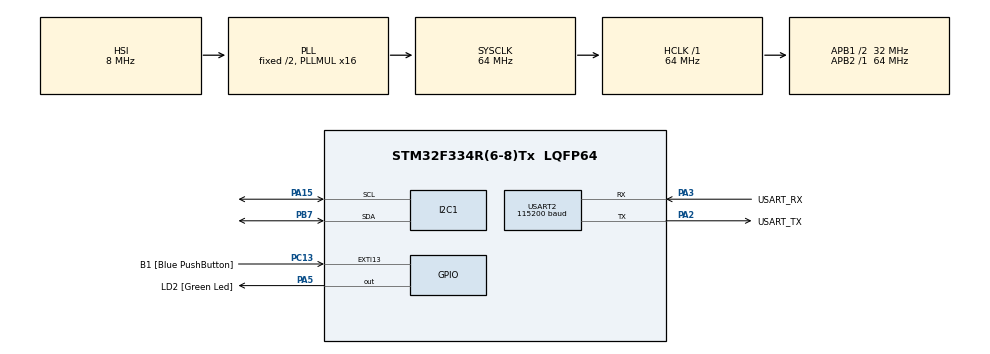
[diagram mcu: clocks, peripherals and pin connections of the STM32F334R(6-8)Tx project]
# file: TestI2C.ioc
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Mcu.Family=STM32F3
Mcu.Name=STM32F334R(6-8)Tx
Mcu.Package=LQFP64
NVIC.PriorityGroup=NVIC_PRIORITYGROUP_0
PA13.GPIO_Label=TMS
PA13.Mode=Serial_Wire
PA13.Signal=SYS_JTMS-SWDIO
PA14.GPIO_Label=TCK
PA14.Mode=Serial_Wire
PA14.Signal=SYS_JTCK-SWCLK
PA15.Mode=I2C
PA15.Signal=I2C1_SCL
PA2.GPIO_Label=USART_TX
PA2.Mode=Asynchronous
PA2.Signal=USART2_TX
PA3.GPIO_Label=USART_RX
PA3.Mode=Asynchronous
PA3.Signal=USART2_RX
PA5.GPIO_Label=LD2 [Green Led]
PA5.Signal=GPIO_Output
PB3.GPIO_Label=SWO
PB3.Signal=SYS_JTDO-TRACESWO
PB7.Mode=I2C
PB7.Signal=I2C1_SDA
PC13.GPIO_Label=B1 [Blue PushButton]
PC13.GPIO_ModeDefaultEXTI=GPIO_MODE_IT_FALLING
PC13.Signal=GPXTI13
PC14\ /\ OSC32_IN.Mode=LSE-External-Oscillator
PC14\ /\ OSC32_IN.Signal=RCC_OSC32_IN
PC15\ /\ OSC32_OUT.GPIO_Label=RCC_OSC32_OUT
PC15\ /\ OSC32_OUT.Mode=LSE-External-Oscillator
PC15\ /\ OSC32_OUT.Signal=RCC_OSC32_OUT
PF0\ /\ OSC_IN.Mode=HSE-External-Clock-Source
PF0\ /\ OSC_IN.Signal=RCC_OSC_IN
PF1\ /\ OSC_OUT.Signal=RCC_OSC_OUT
ProjectManager.HeapSize=0x200
ProjectManager.StackSize=0x400
ProjectManager.TargetToolchain=STM32CubeIDE
RCC.AHBFreq_Value=64000000
RCC.APB1CLKDivider=RCC_HCLK_DIV2
RCC.APB1Freq_Value=32000000
RCC.APB1TimFreq_Value=64000000
RCC.APB2Freq_Value=64000000
RCC.APB2TimFreq_Value=64000000
RCC.CortexFreq_Value=64000000
RCC.FLatency-AdvancedSettings=FLASH_LATENCY_2
RCC.HCLKFreq_Value=64000000
RCC.HSE_VALUE=8000000
RCC.HSI_VALUE=8000000
RCC.PLLMUL=RCC_PLL_MUL16
RCC.SYSCLKFreq_VALUE=64000000
RCC.SYSCLKSourceVirtual=RCC_SYSCLKSOURCE_PLLCLK
USART2.BaudRate=115200
USART2.VirtualMode-Asynchronous=VM_ASYNC
board=NUCLEO-F334R8

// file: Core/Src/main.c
/* USER CODE BEGIN Header */
/**
 ******************************************************************************
 * @file           : main.c
 * @brief          : Main program body
 ******************************************************************************
 * @attention
 *
 * <h2><center>&copy; Copyright (c) 2022 STMicroelectronics.
 * All rights reserved.</center></h2>
 *
 * This software component is licensed by ST under BSD 3-Clause license,
 * the "License"; You may not use this file except in compliance with the
 * License. You may obtain a copy of the License at:
 *                        opensource.org/licenses/BSD-3-Clause
 *
 ******************************************************************************
 */
/* USER CODE END Header */

#include "main.h"

I2C_HandleTypeDef hi2c1;

UART_HandleTypeDef huart2;

void SystemClock_Config(void);
static void MX_GPIO_Init(void);
static void MX_USART2_UART_Init(void);
static void MX_I2C1_Init(void);

int main(void) {

	/* MCU Configuration--------------------------------------------------------*/

	/* Reset of all peripherals, Initializes the Flash interface and the Systick. */
	HAL_Init();

	/* Configure the system clock */
	SystemClock_Config();

	/* Initialize all configured peripherals */
	MX_GPIO_Init();
	MX_USART2_UART_Init();
	MX_I2C1_Init();
	/* USER CODE BEGIN 2 */
	uint16_t val;
	uint8_t pData[10] = { '1', '9', '8', '6', '2', '2', '4', '5', ':', '\n' };

	HAL_UART_Transmit(&huart2, pData, 10, 100);

	uint16_t value = 0x8000;
	uint8_t write[2];
	uint8_t temp;
	memcpy(write, &value, 2);
	temp = write[0];
	write[0] = write[1];
	write[1] = temp;

	HAL_StatusTypeDef a = HAL_I2C_Mem_Write(&hi2c1, 0x40 << 1, 0x05, 1, write,
			2, 100);

	uint16_t receive;
	uint8_t data[2];
	HAL_StatusTypeDef b = HAL_I2C_Mem_Read(&hi2c1, 0x40 << 1, 0x05, 1, data, 2,
			100);
	receive = ((uint16_t) (data[0]) << 8) | data[1];
	uint16_t config = 0;
	config |= 0b101;// Set mode to shunt voltage and continuous
	config |= 0b1000 << 3;// Set the shunt ADC resolution to 12 bit
	memcpy(write, &config, 2);
	temp = write[0];
	write[0] = write[1];
	write[1] = temp;

	 a = HAL_I2C_Mem_Write(&hi2c1, 0x40 << 1, 0x00, 1, write,
			2, 100);
	 b = HAL_I2C_Mem_Read(&hi2c1, 0x40 << 1, 0x00, 1, data, 2,
			100);
	receive = ((uint16_t) (data[0]) << 8) | data[1];

	uint16_t stop = 20;
	/* USER CODE END 2 */

	/* Infinite loop */
	while (1) {
		HAL_StatusTypeDef b = HAL_I2C_Mem_Read(&hi2c1, 0x40 << 1, 0x04, 1, data,
				2, 100);
		receive = (uint16_t) (data[0]) << 8 | data[1];
		uint8_t transmit[6];
		transmit[0]=receive%10 + 48;
		float current = ( 12.5e-6 * receive) * 1000.0f;
		transmit[1]=(receive%100)/10 + 48;
		transmit[2]=(receive%1000)/100 + 48;
		transmit[3]=(receive%10000)/1000 + 48;
		transmit[4]=(receive%100000)/10000 + 48;
		transmit[5]='\n';
		//HAL_UART_Transmit(&huart2, transmit, 6, 100);
		HAL_Delay(100);

	}
}

void SystemClock_Config(void) {
	RCC_OscInitTypeDef RCC_OscInitStruct = { 0 };
	RCC_ClkInitTypeDef RCC_ClkInitStruct = { 0 };
	RCC_PeriphCLKInitTypeDef PeriphClkInit = { 0 };

	/** Initializes the CPU, AHB and APB busses clocks
	 */
	RCC_OscInitStruct.OscillatorType = RCC_OSCILLATORTYPE_HSI;
	RCC_OscInitStruct.HSIState = RCC_HSI_ON;
	RCC_OscInitStruct.HSICalibrationValue = RCC_HSICALIBRATION_DEFAULT;
	RCC_OscInitStruct.PLL.PLLState = RCC_PLL_ON;
	RCC_OscInitStruct.PLL.PLLSource = RCC_PLLSOURCE_HSI;
	RCC_OscInitStruct.PLL.PLLMUL = RCC_PLL_MUL16;
	if (HAL_RCC_OscConfig(&RCC_OscInitStruct) != HAL_OK) {
		Error_Handler();
	}
	/** Initializes the CPU, AHB and APB busses clocks
	 */
	RCC_ClkInitStruct.ClockType = RCC_CLOCKTYPE_HCLK | RCC_CLOCKTYPE_SYSCLK
			| RCC_CLOCKTYPE_PCLK1 | RCC_CLOCKTYPE_PCLK2;
	RCC_ClkInitStruct.SYSCLKSource = RCC_SYSCLKSOURCE_PLLCLK;
	RCC_ClkInitStruct.AHBCLKDivider = RCC_SYSCLK_DIV1;
	RCC_ClkInitStruct.APB1CLKDivider = RCC_HCLK_DIV2;
	RCC_ClkInitStruct.APB2CLKDivider = RCC_HCLK_DIV1;

	if (HAL_RCC_ClockConfig(&RCC_ClkInitStruct, FLASH_LATENCY_2) != HAL_OK) {
		Error_Handler();
	}
	PeriphClkInit.PeriphClockSelection = RCC_PERIPHCLK_I2C1;
	PeriphClkInit.I2c1ClockSelection = RCC_I2C1CLKSOURCE_HSI;
	if (HAL_RCCEx_PeriphCLKConfig(&PeriphClkInit) != HAL_OK) {
		Error_Handler();
	}
}

static void MX_I2C1_Init(void) {

	hi2c1.Instance = I2C1;
	hi2c1.Init.Timing = 0x2000090E;
	hi2c1.Init.OwnAddress1 = 0;
	hi2c1.Init.AddressingMode = I2C_ADDRESSINGMODE_7BIT;
	hi2c1.Init.DualAddressMode = I2C_DUALADDRESS_DISABLE;
	hi2c1.Init.OwnAddress2 = 0;
	hi2c1.Init.OwnAddress2Masks = I2C_OA2_NOMASK;
	hi2c1.Init.GeneralCallMode = I2C_GENERALCALL_DISABLE;
	hi2c1.Init.NoStretchMode = I2C_NOSTRETCH_DISABLE;
	if (HAL_I2C_Init(&hi2c1) != HAL_OK) {
		Error_Handler();
	}
	/** Configure Analogue filter
	 */
	if (HAL_I2CEx_ConfigAnalogFilter(&hi2c1, I2C_ANALOGFILTER_ENABLE)
			!= HAL_OK) {
		Error_Handler();
	}
	/** Configure Digital filter
	 */
	if (HAL_I2CEx_ConfigDigitalFilter(&hi2c1, 0) != HAL_OK) {
		Error_Handler();
	}

}

static void MX_USART2_UART_Init(void) {

	huart2.Instance = USART2;
	huart2.Init.BaudRate = 115200;
	huart2.Init.WordLength = UART_WORDLENGTH_8B;
	huart2.Init.StopBits = UART_STOPBITS_1;
	huart2.Init.Parity = UART_PARITY_NONE;
	huart2.Init.Mode = UART_MODE_TX_RX;
	huart2.Init.HwFlowCtl = UART_HWCONTROL_NONE;
	huart2.Init.OverSampling = UART_OVERSAMPLING_16;
	huart2.Init.OneBitSampling = UART_ONE_BIT_SAMPLE_DISABLE;
	huart2.AdvancedInit.AdvFeatureInit = UART_ADVFEATURE_NO_INIT;
	if (HAL_UART_Init(&huart2) != HAL_OK) {
		Error_Handler();
	}

}

static void MX_GPIO_Init(void) {
	GPIO_InitTypeDef GPIO_InitStruct = { 0 };

	/* GPIO Ports Clock Enable */
	__HAL_RCC_GPIOC_CLK_ENABLE();
	__HAL_RCC_GPIOF_CLK_ENABLE();
	__HAL_RCC_GPIOA_CLK_ENABLE();
	__HAL_RCC_GPIOB_CLK_ENABLE();

	/*Configure GPIO pin Output Level */
	HAL_GPIO_WritePin(LD2_GPIO_Port, LD2_Pin, GPIO_PIN_RESET);

	/*Configure GPIO pin : B1_Pin */
	GPIO_InitStruct.Pin = B1_Pin;
	GPIO_InitStruct.Mode = GPIO_MODE_IT_FALLING;
	GPIO_InitStruct.Pull = GPIO_NOPULL;
	HAL_GPIO_Init(B1_GPIO_Port, &GPIO_InitStruct);

	/*Configure GPIO pin : LD2_Pin */
	GPIO_InitStruct.Pin = LD2_Pin;
	GPIO_InitStruct.Mode = GPIO_MODE_OUTPUT_PP;
	GPIO_InitStruct.Pull = GPIO_NOPULL;
	GPIO_InitStruct.Speed = GPIO_SPEED_FREQ_LOW;
	HAL_GPIO_Init(LD2_GPIO_Port, &GPIO_InitStruct);

}

void Error_Handler(void) {
}

/************************ (C) COPYRIGHT STMicroelectronics *****END OF FILE****/
